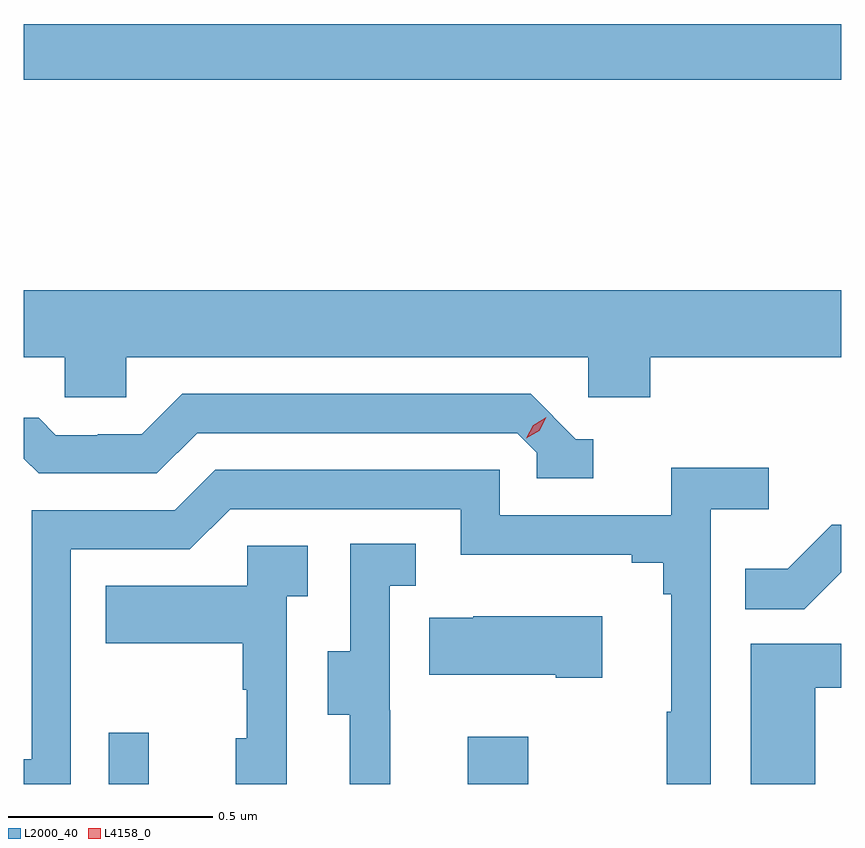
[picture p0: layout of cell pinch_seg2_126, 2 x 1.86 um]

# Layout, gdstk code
import gdstk
lib = gdstk.Library(unit=1e-6, precision=1e-09)
def R(c, l, rs):  # rectangles x0, y0, x1, y1
    for r in rs: c.add(gdstk.rectangle(r[:2], r[2:], *l))
def P(c, l, *ps):  # polygons
    for p in ps: c.add(gdstk.Polygon(p, *l))
L2000_40 = (2000, 40)
L4158_0 = (4158, 0)

pinch_seg2_126 = lib.new_cell('pinch_seg2_126')
R(pinch_seg2_126, L2000_40, [(1024.245,630.608,1024.343,630.733), (1025.123,630.608,1025.271,630.724), (1024.037,632.332,1026.037,632.468)])
P(pinch_seg2_126, L2000_40, [(1024.287,631.652),(1025.418,631.652),(1025.418,631.554),(1025.57,631.554),(1025.57,631.652),(1026.037,631.652),(1026.037,631.816),(1024.037,631.816),(1024.037,631.652),(1024.137,631.652),(1024.137,631.554),(1024.287,631.554)],
  [(1025.431,631.452),(1025.388,631.452),(1025.277,631.563),(1024.424,631.563),(1024.325,631.464),(1024.218,631.464),(1024.218,631.461),(1024.115,631.461),(1024.073,631.504),(1024.037,631.504),(1024.037,631.404),(1024.073,631.368),(1024.362,631.368),(1024.461,631.467),(1025.244,631.467),(1025.292,631.419),(1025.292,631.356),(1025.431,631.356)],
  [(1024.152,631.182),(1024.443,631.182),(1024.542,631.281),(1025.106,631.281),(1025.106,631.169),(1025.525,631.169),(1025.525,631.15),(1025.602,631.15),(1025.602,631.073),(1025.621,631.073),(1025.621,630.785),(1025.61,630.785),(1025.61,630.608),(1025.718,630.608),(1025.718,631.28),(1025.86,631.28),(1025.86,631.382),(1025.621,631.382),(1025.621,631.266),(1025.202,631.266),(1025.202,631.377),(1024.505,631.377),(1024.406,631.278),(1024.056,631.278),(1024.056,630.669),(1024.037,630.669),(1024.037,630.608),(1024.152,630.608)],
  [(1026.037,631.126),(1026.037,631.242),(1026.014,631.242),(1025.907,631.135),(1025.803,631.135),(1025.803,631.036),(1025.947,631.036)],
  [(1024.934,630.789),(1024.932,630.789),(1024.932,631.093),(1024.996,631.093),(1024.996,631.196),(1024.836,631.196),(1024.836,630.933),(1024.781,630.933),(1024.781,630.778),(1024.835,630.778),(1024.835,630.608),(1024.934,630.608)],
  [(1024.68,631.067),(1024.732,631.067),(1024.732,631.191),(1024.584,631.191),(1024.584,631.093),(1024.237,631.093),(1024.237,630.953),(1024.572,630.953),(1024.572,630.839),(1024.582,630.839),(1024.582,630.72),(1024.556,630.72),(1024.556,630.608),(1024.68,630.608)],
  [(1025.452,631.018),(1025.137,631.018),(1025.137,631.015),(1025.029,631.015),(1025.029,630.875),(1025.339,630.875),(1025.339,630.868),(1025.452,630.868)],
  [(1025.974,630.843),(1026.037,630.843),(1026.037,630.951),(1025.816,630.951),(1025.816,630.608),(1025.974,630.608)])
P(pinch_seg2_126, L4158_0, [(1025.267,631.454),(1025.267,631.454),(1025.284,631.486),(1025.315,631.506),(1025.315,631.506),(1025.315,631.505),(1025.298,631.473),(1025.267,631.454)])

lib.write_gds('pinch_seg2_126.gds')
